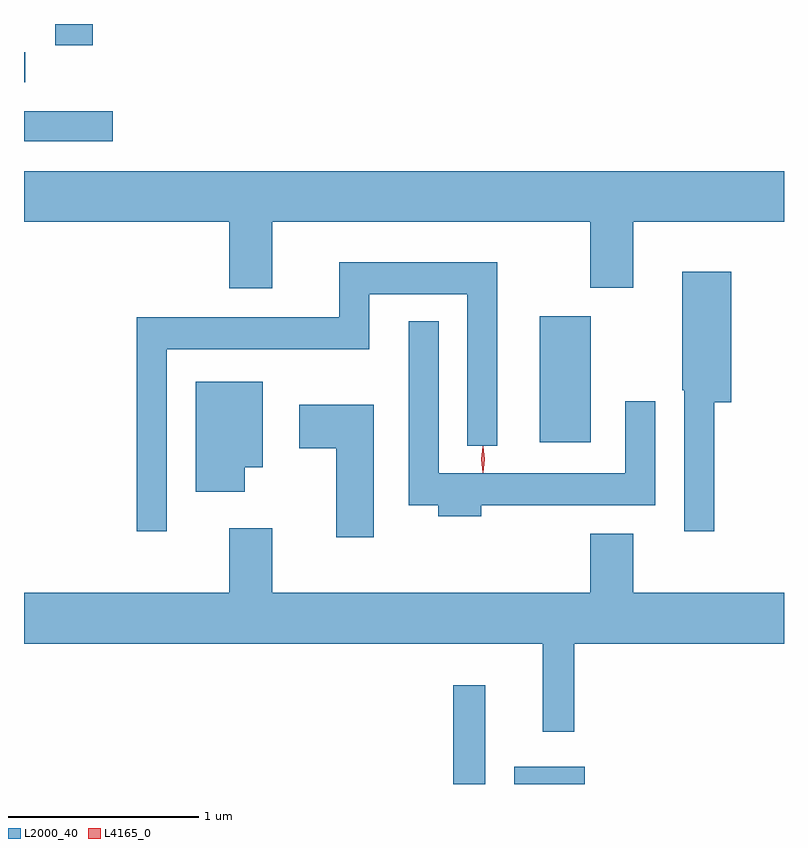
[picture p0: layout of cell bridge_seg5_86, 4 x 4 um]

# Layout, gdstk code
import gdstk
lib = gdstk.Library(unit=1e-6, precision=1e-09)
def R(c, l, rs):  # rectangles x0, y0, x1, y1
    for r in rs: c.add(gdstk.rectangle(r[:2], r[2:], *l))
def P(c, l, *ps):  # polygons
    for p in ps: c.add(gdstk.Polygon(p, *l))
L2000_40 = (2000, 40)
L4165_0 = (4165, 0)

bridge_seg5_86 = lib.new_cell('bridge_seg5_86')
R(bridge_seg5_86, L2000_40, [(1216.761,1476.038,1216.929,1476.558), (1217.081,1476.038,1217.454,1476.129), (1217.216,1477.836,1217.484,1478.499), (1214.502,1479.421,1214.968,1479.579), (1214.502,1479.731,1214.508,1479.889), (1214.666,1479.926,1214.864,1480.038)])
P(bridge_seg5_86, L2000_40, [(1215.809,1478.996),(1217.481,1478.996),(1217.481,1478.651),(1217.709,1478.651),(1217.709,1478.996),(1218.502,1478.996),(1218.502,1479.264),(1214.502,1479.264),(1214.502,1478.996),(1215.581,1478.996),(1215.581,1478.646),(1215.809,1478.646)],
  [(1215.254,1478.326),(1216.319,1478.326),(1216.319,1478.616),(1216.836,1478.616),(1216.836,1477.818),(1216.994,1477.818),(1216.994,1478.784),(1216.161,1478.784),(1216.161,1478.494),(1215.096,1478.494),(1215.096,1477.368),(1215.254,1477.368)],
  [(1218.134,1478.046),(1218.224,1478.046),(1218.224,1478.734),(1217.966,1478.734),(1217.966,1478.11),(1217.976,1478.11),(1217.976,1477.368),(1218.134,1477.368)],
  [(1216.909,1477.506),(1217.824,1477.506),(1217.824,1478.053),(1217.666,1478.053),(1217.666,1477.674),(1216.684,1477.674),(1216.684,1478.473),(1216.526,1478.473),(1216.526,1477.506),(1216.681,1477.506),(1216.681,1477.446),(1216.909,1477.446)],
  [(1215.664,1477.706),(1215.759,1477.706),(1215.759,1478.154),(1215.406,1478.154),(1215.406,1477.576),(1215.664,1477.576)],
  [(1216.344,1478.034),(1215.951,1478.034),(1215.951,1477.806),(1216.146,1477.806),(1216.146,1477.336),(1216.344,1477.336)],
  [(1217.399,1476.776),(1218.502,1476.776),(1218.502,1477.044),(1217.709,1477.044),(1217.709,1477.354),(1217.481,1477.354),(1217.481,1477.044),(1215.809,1477.044),(1215.809,1477.384),(1215.581,1477.384),(1215.581,1477.044),(1214.502,1477.044),(1214.502,1476.776),(1217.231,1476.776),(1217.231,1476.313),(1217.399,1476.313)])
P(bridge_seg5_86, L4165_0, [(1216.917,1477.679),(1216.917,1477.68),(1216.908,1477.746),(1216.917,1477.812),(1216.917,1477.813),(1216.918,1477.812),(1216.927,1477.746),(1216.918,1477.68)],
  [(1216.917,1477.677),(1216.908,1477.747),(1216.917,1477.816),(1216.918,1477.816),(1216.918,1477.816),(1216.928,1477.747),(1216.918,1477.677),(1216.918,1477.677)])

lib.write_gds('bridge_seg5_86.gds')
